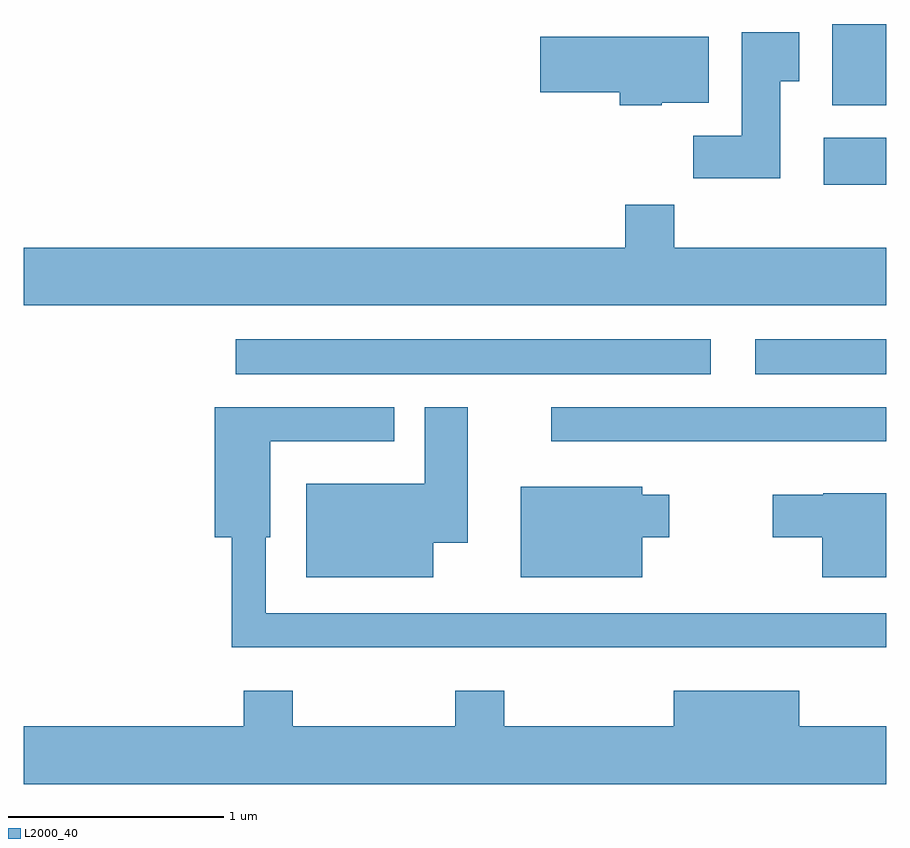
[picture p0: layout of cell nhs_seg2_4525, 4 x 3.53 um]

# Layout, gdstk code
import gdstk
lib = gdstk.Library(unit=1e-6, precision=1e-09)
def R(c, l, rs):  # rectangles x0, y0, x1, y1
    for r in rs: c.add(gdstk.rectangle(r[:2], r[2:], *l))
def P(c, l, *ps):  # polygons
    for p in ps: c.add(gdstk.Polygon(p, *l))
L2000_40 = (2000, 40)

nhs_seg2_4525 = lib.new_cell('nhs_seg2_4525')
R(nhs_seg2_4525, L2000_40, [(320.058,1089.866,321.611,1090.024), (318.593,1090.176,320.798,1090.339), (321.003,1090.176,321.611,1090.339), (321.321,1091.056,321.611,1091.274), (321.361,1091.426,321.611,1091.802)])
P(nhs_seg2_4525, L2000_40, [(321.119,1091.536),(321.209,1091.536),(321.209,1091.764),(320.941,1091.764),(320.941,1091.284),(320.716,1091.284),(320.716,1091.086),(321.119,1091.086)],
  [(320.57,1091.436),(320.789,1091.436),(320.789,1091.744),(320.006,1091.744),(320.006,1091.486),(320.376,1091.486),(320.376,1091.426),(320.57,1091.426)],
  [(321.611,1090.764),(320.629,1090.764),(320.629,1090.964),(320.401,1090.964),(320.401,1090.764),(317.611,1090.764),(317.611,1090.496),(321.611,1090.496)],
  [(319.509,1089.396),(319.669,1089.396),(319.669,1090.024),(319.471,1090.024),(319.471,1089.669),(318.921,1089.669),(318.921,1089.236),(319.509,1089.236)],
  [(321.611,1089.069),(318.734,1089.069),(318.734,1089.421),(318.754,1089.421),(318.754,1089.866),(319.328,1089.866),(319.328,1090.024),(318.496,1090.024),(318.496,1089.421),(318.576,1089.421),(318.576,1088.911),(321.611,1088.911)],
  [(320.479,1089.421),(320.604,1089.421),(320.604,1089.619),(320.479,1089.619),(320.479,1089.654),(319.916,1089.654),(319.916,1089.236),(320.479,1089.236)],
  [(321.611,1089.624),(321.32,1089.624),(321.32,1089.619),(321.086,1089.619),(321.086,1089.421),(321.316,1089.421),(321.316,1089.236),(321.611,1089.236)],
  [(321.611,1088.544),(321.209,1088.544),(321.209,1088.709),(320.626,1088.709),(320.626,1088.544),(319.839,1088.544),(319.839,1088.709),(319.611,1088.709),(319.611,1088.544),(318.859,1088.544),(318.859,1088.709),(318.631,1088.709),(318.631,1088.544),(317.611,1088.544),(317.611,1088.276),(321.611,1088.276)])

lib.write_gds('nhs_seg2_4525.gds')
